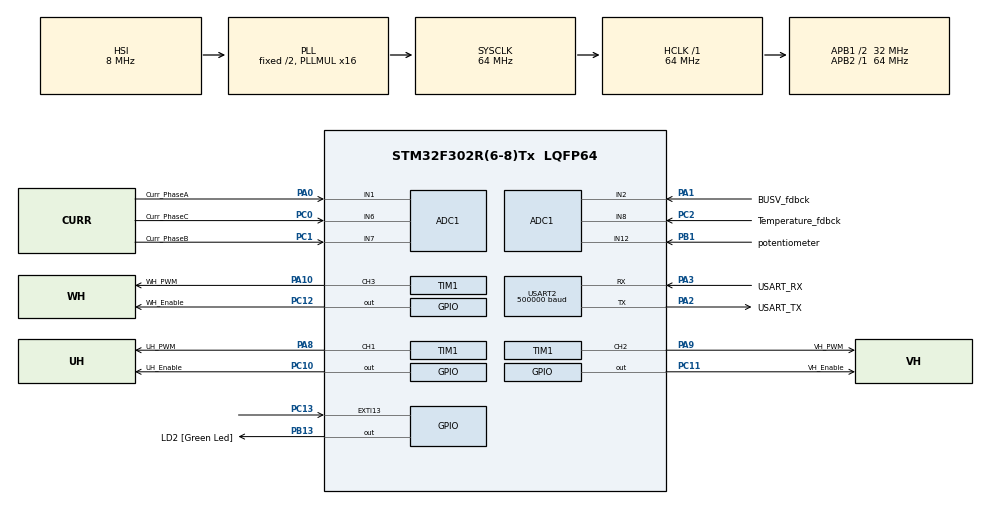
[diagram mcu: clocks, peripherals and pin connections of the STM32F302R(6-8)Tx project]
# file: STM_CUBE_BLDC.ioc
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ADC1.Channel-12\#ChannelRegularConversion=ADC_CHANNEL_1
ADC1.Channel-13\#ChannelRegularConversion=ADC_CHANNEL_7
ADC1.Channel-14\#ChannelRegularConversion=ADC_CHANNEL_6
ADC1.Channel-15\#ChannelRegularConversion=ADC_CHANNEL_2
ADC1.Channel-16\#ChannelRegularConversion=ADC_CHANNEL_12
ADC1.Channel-17\#ChannelRegularConversion=ADC_CHANNEL_8
ADC1.EOCSelection=ADC_EOC_SEQ_CONV
ADC1.EnableInjectedConversion=DISABLE
ADC1.EnableRegularConversion=ENABLE
ADC1.ExternalTrigConv=ADC_EXTERNALTRIGCONV_T1_TRGO
ADC1.NbrOfConversion=6
ADC1.NbrOfConversionFlag=1
ADC1.Offset-12\#ChannelRegularConversion=0
ADC1.Offset-13\#ChannelRegularConversion=0
ADC1.Offset-14\#ChannelRegularConversion=0
ADC1.Offset-15\#ChannelRegularConversion=0
ADC1.Offset-16\#ChannelRegularConversion=0
ADC1.Offset-17\#ChannelRegularConversion=0
ADC1.OffsetNumber-12\#ChannelRegularConversion=ADC_OFFSET_NONE
ADC1.OffsetNumber-13\#ChannelRegularConversion=ADC_OFFSET_NONE
ADC1.OffsetNumber-14\#ChannelRegularConversion=ADC_OFFSET_NONE
ADC1.OffsetNumber-15\#ChannelRegularConversion=ADC_OFFSET_NONE
ADC1.OffsetNumber-16\#ChannelRegularConversion=ADC_OFFSET_NONE
ADC1.OffsetNumber-17\#ChannelRegularConversion=ADC_OFFSET_NONE
ADC1.Rank-12\#ChannelRegularConversion=1
ADC1.Rank-13\#ChannelRegularConversion=2
ADC1.Rank-14\#ChannelRegularConversion=3
ADC1.Rank-15\#ChannelRegularConversion=4
ADC1.Rank-16\#ChannelRegularConversion=5
ADC1.Rank-17\#ChannelRegularConversion=6
ADC1.Rank1_Channel=ADC_CHANNEL_1
ADC1.Rank2_Channel=ADC_CHANNEL_7
ADC1.Rank3_Channel=ADC_CHANNEL_6
ADC1.Rank4_Channel=ADC_CHANNEL_2
ADC1.SamplingTime-12\#ChannelRegularConversion=ADC_SAMPLETIME_1CYCLE_5
ADC1.SamplingTime-13\#ChannelRegularConversion=ADC_SAMPLETIME_1CYCLE_5
ADC1.SamplingTime-14\#ChannelRegularConversion=ADC_SAMPLETIME_1CYCLE_5
ADC1.SamplingTime-15\#ChannelRegularConversion=ADC_SAMPLETIME_1CYCLE_5
ADC1.SamplingTime-16\#ChannelRegularConversion=ADC_SAMPLETIME_1CYCLE_5
ADC1.SamplingTime-17\#ChannelRegularConversion=ADC_SAMPLETIME_1CYCLE_5
ADC1.SamplingTimeOPAMP-12\#ChannelRegularConversion=ADC_SAMPLETIME_61CYCLES_5
ADC1.SamplingTimeOPAMP-13\#ChannelRegularConversion=ADC_SAMPLETIME_61CYCLES_5
ADC1.SamplingTimeOPAMP-14\#ChannelRegularConversion=ADC_SAMPLETIME_61CYCLES_5
ADC1.SamplingTimeOPAMP-15\#ChannelRegularConversion=ADC_SAMPLETIME_61CYCLES_5
ADC1.SamplingTimeOPAMP-16\#ChannelRegularConversion=ADC_SAMPLETIME_61CYCLES_5
ADC1.SamplingTimeOPAMP-17\#ChannelRegularConversion=ADC_SAMPLETIME_61CYCLES_5
ADC1.SequencerNbRanks=6
ADC1.SubFamily=STM32F302x8
ADC1.master=1
Dma.ADC1.0.Direction=DMA_PERIPH_TO_MEMORY
Dma.ADC1.0.Instance=DMA1_Channel1
Dma.ADC1.0.MemDataAlignment=DMA_MDATAALIGN_HALFWORD
Dma.ADC1.0.MemInc=DMA_MINC_ENABLE
Dma.ADC1.0.Mode=DMA_NORMAL
Dma.ADC1.0.PeriphDataAlignment=DMA_PDATAALIGN_HALFWORD
Dma.ADC1.0.PeriphInc=DMA_PINC_DISABLE
Dma.ADC1.0.Priority=DMA_PRIORITY_LOW
Dma.Request0=ADC1
Mcu.Family=STM32F3
Mcu.Name=STM32F302R(6-8)Tx
Mcu.Package=LQFP64
NVIC.DMA1_Channel1_IRQn=true\:0\:0\:false\:false\:true\:false\:true\:true
NVIC.EXTI15_10_IRQn=true\:0\:0\:false\:false\:true\:true\:true\:true
NVIC.PriorityGroup=NVIC_PRIORITYGROUP_0
PA0.GPIO_Label=Curr_PhaseA
PA0.Mode=IN1-Single-Ended
PA0.Signal=ADC1_IN1
PA1.GPIO_Label=BUSV_fdbck
PA1.Mode=IN2-Single-Ended
PA1.Signal=ADC1_IN2
PA10.GPIO_Label=WH_PWM
PA10.Signal=S_TIM1_CH3
PA13.GPIO_Label=TMS
PA13.Mode=Serial_Wire
PA13.Signal=SYS_JTMS-SWDIO
PA14.GPIO_Label=TCK
PA14.Mode=Serial_Wire
PA14.Signal=SYS_JTCK-SWCLK
PA2.GPIO_Label=USART_TX
PA2.GPIO_Mode=GPIO_MODE_AF_PP
PA2.GPIO_PuPd=GPIO_NOPULL
PA2.GPIO_Speed=GPIO_SPEED_FREQ_LOW
PA2.Mode=Asynchronous
PA2.Signal=USART2_TX
PA3.GPIO_Label=USART_RX
PA3.GPIO_Mode=GPIO_MODE_AF_PP
PA3.GPIO_PuPd=GPIO_NOPULL
PA3.GPIO_Speed=GPIO_SPEED_FREQ_LOW
PA3.Mode=Asynchronous
PA3.Signal=USART2_RX
PA8.GPIO_Label=UH_PWM
PA8.Signal=S_TIM1_CH1
PA9.GPIO_Label=VH_PWM
PA9.Signal=S_TIM1_CH2
PB1.GPIO_Label=potentiometer
PB1.Mode=IN12-Single-Ended
PB1.Signal=ADC1_IN12
PB13.GPIO_Label=LD2 [Green Led]
PB13.Signal=GPIO_Output
PB3.GPIO_Label=SWO
PB3.Mode=Trace_Asynchronous_SW
PB3.Signal=SYS_JTDO-TRACESWO
PC0.GPIO_Label=Curr_PhaseC
PC0.Signal=ADCx_IN6
PC1.GPIO_Label=Curr_PhaseB
PC1.Signal=ADCx_IN7
PC10.GPIO_Label=UH_Enable
PC10.Signal=GPIO_Output
PC11.GPIO_Label=VH_Enable
PC11.Signal=GPIO_Output
PC12.GPIO_Label=WH_Enable
PC12.Signal=GPIO_Output
PC13.Signal=GPXTI13
PC14\ -\ OSC32_IN.Mode=LSE-External-Oscillator
PC14\ -\ OSC32_IN.Signal=RCC_OSC32_IN
PC15\ -\ OSC32_OUT.Mode=LSE-External-Oscillator
PC15\ -\ OSC32_OUT.Signal=RCC_OSC32_OUT
PC2.GPIO_Label=Temperature_fdbck
PC2.Signal=ADCx_IN8
PF0-OSC_IN.Mode=HSE-External-Clock-Source
PF0-OSC_IN.Signal=RCC_OSC_IN
PF1-OSC_OUT.Signal=RCC_OSC_OUT
ProjectManager.HeapSize=0x200
ProjectManager.StackSize=0x400
ProjectManager.TargetToolchain=STM32CubeIDE
RCC.AHBFreq_Value=64000000
RCC.APB1CLKDivider=RCC_HCLK_DIV2
RCC.APB1Freq_Value=32000000
RCC.APB1TimFreq_Value=64000000
RCC.APB2Freq_Value=64000000
RCC.APB2TimFreq_Value=64000000
RCC.CortexFreq_Value=64000000
RCC.HCLKFreq_Value=64000000
RCC.HSE_VALUE=8000000
RCC.HSI_VALUE=8000000
RCC.PLLM=8
RCC.PLLMUL=RCC_PLL_MUL16
RCC.PLLN=336
RCC.PLLP=RCC_PLLP_DIV4
RCC.PLLQ=7
RCC.RCC_PLLsource_Clock_Source_FROM_HSE=RCC_HSE_PREDIV_DIV2
RCC.SYSCLKFreq_VALUE=64000000
RCC.SYSCLKSourceVirtual=RCC_SYSCLKSOURCE_PLLCLK
RCC.USBFreq_Value=64000000
SH.ADCx_IN6.0=ADC1_IN6,IN6-Single-Ended
SH.ADCx_IN7.0=ADC1_IN7,IN7-Single-Ended
SH.ADCx_IN8.0=ADC1_IN8,IN8-Single-Ended
SH.S_TIM1_CH1.0=TIM1_CH1,PWM Generation1 CH1
SH.S_TIM1_CH2.0=TIM1_CH2,PWM Generation2 CH2
SH.S_TIM1_CH3.0=TIM1_CH3,PWM Generation3 CH3
TIM1.Channel-PWM\ Generation1\ CH1=TIM_CHANNEL_1
TIM1.Channel-PWM\ Generation2\ CH2=TIM_CHANNEL_2
TIM1.Channel-PWM\ Generation3\ CH3=TIM_CHANNEL_3
TIM1.CounterMode=TIM_COUNTERMODE_CENTERALIGNED1
TIM1.Period=100-1
TIM1.Prescaler=64-1
TIM1.Pulse-PWM\ Generation1\ CH1=50
TIM1.Pulse-PWM\ Generation2\ CH2=20
TIM1.Pulse-PWM\ Generation3\ CH3=75
TIM1.TIM_MasterOutputTrigger=TIM_TRGO_UPDATE
TIM1.TIM_MasterSlaveMode=TIM_MASTERSLAVEMODE_DISABLE
TIM16.Prescaler=640-1
USART2.BaudRate=500000
USART2.VirtualMode-Asynchronous=VM_ASYNC
VP_TIM16_VS_ClockSourceINT.Mode=Enable_Timer
board=NUCLEO-F302R8

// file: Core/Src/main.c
/* USER CODE BEGIN Header */
/**
  ******************************************************************************
  * @file           : main.c
  * @brief          : Main program body
  ******************************************************************************
  * @attention
  *
  * Copyright (c) 2023 STMicroelectronics.
  * All rights reserved.
  *
  * This software is licensed under terms that can be found in the LICENSE file
  * in the root directory of this software component.
  * If no LICENSE file comes with this software, it is provided AS-IS.
  *
  ******************************************************************************
  */
/* USER CODE END Header */
#include "main.h"

/* USER CODE BEGIN Includes */
#include <stdio.h>
#include <string.h>
#include "STM_SIMULINK_BLDC.h"
/* USER CODE END Includes */

/* USER CODE BEGIN PD */
#define CURRENT_PHA_DMA_IDX 0
#define CURRENT_PHB_DMA_IDX 1
#define CURRENT_PHC_DMA_IDX 2
#define BUSV_DMA_IDX 3
#define POTENTIOMETER_DMA_IDX 4
#define TEMPERATURE_DMA_IDX 5
/* USER CODE END PD */

ADC_HandleTypeDef hadc1;
DMA_HandleTypeDef hdma_adc1;

TIM_HandleTypeDef htim1;
TIM_HandleTypeDef htim16;

UART_HandleTypeDef huart2;

/* USER CODE BEGIN PV */
uint16_t adc_dma_buffer[6] = {0};
uint8_t serial_buf[150];
uint16_t main_start_time;
/* USER CODE END PV */

void SystemClock_Config(void);
static void MX_GPIO_Init(void);
static void MX_DMA_Init(void);
static void MX_USART2_UART_Init(void);
static void MX_ADC1_Init(void);
static void MX_TIM1_Init(void);
static void MX_TIM16_Init(void);

int main(void)
{

  /* MCU Configuration--------------------------------------------------------*/

  /* Reset of all peripherals, Initializes the Flash interface and the Systick. */
  HAL_Init();

  /* Configure the system clock */
  SystemClock_Config();

  /* Initialize all configured peripherals */
  MX_GPIO_Init();
  MX_DMA_Init();
  MX_USART2_UART_Init();
  MX_ADC1_Init();
  MX_TIM1_Init();
  MX_TIM16_Init();
  /* USER CODE BEGIN 2 */
  HAL_TIM_Base_Start(&htim16);
  HAL_TIM_PWM_Start(&htim1, TIM_CHANNEL_1);
  HAL_TIM_PWM_Start(&htim1, TIM_CHANNEL_2);
  HAL_TIM_PWM_Start(&htim1, TIM_CHANNEL_3);
  /* USER CODE END 2 */

  /* Infinite loop */
  /* USER CODE BEGIN WHILE */
  HAL_GPIO_WritePin(GPIOC, UH_Enable_Pin, GPIO_PIN_SET);
  HAL_GPIO_WritePin(GPIOC, VH_Enable_Pin, GPIO_PIN_SET);
  HAL_GPIO_WritePin(GPIOC, WH_Enable_Pin, GPIO_PIN_SET);
  while (1)
  {
	  main_start_time=__HAL_TIM_GET_COUNTER(&htim16);
	  HAL_ADC_Start_DMA(&hadc1, (uint32_t*)adc_dma_buffer, 6);
	  HAL_ADC_PollForConversion(&hadc1, HAL_MAX_DELAY);

	  STM_SIMULINK_BLDC_U.speed = adc_dma_buffer[POTENTIOMETER_DMA_IDX]/40;
	  STM_SIMULINK_BLDC_U.Phase_A = adc_dma_buffer[CURRENT_PHA_DMA_IDX];
	  STM_SIMULINK_BLDC_U.Phase_B = adc_dma_buffer[CURRENT_PHB_DMA_IDX];
	  STM_SIMULINK_BLDC_U.Phase_C = adc_dma_buffer[CURRENT_PHC_DMA_IDX];
	  STM_SIMULINK_BLDC_U.BusV = adc_dma_buffer[BUSV_DMA_IDX];
	  STM_SIMULINK_BLDC_step();

	  __HAL_TIM_SET_COMPARE(&htim1, TIM_CHANNEL_1, STM_SIMULINK_BLDC_Y.pwm_1);
	  __HAL_TIM_SET_COMPARE(&htim1, TIM_CHANNEL_2, STM_SIMULINK_BLDC_Y.pwm_2);
	  __HAL_TIM_SET_COMPARE(&htim1, TIM_CHANNEL_3, STM_SIMULINK_BLDC_Y.pwm_3);
		/*
	  sprintf((char*)serial_buf, "%u,%u,%u,%u,%u,%u\r\n",
	      													adc_dma_buffer[CURRENT_PHA_DMA_IDX],
	      													adc_dma_buffer[CURRENT_PHB_DMA_IDX],
	      													adc_dma_buffer[CURRENT_PHC_DMA_IDX],
	      													adc_dma_buffer[BUSV_DMA_IDX],
	      													adc_dma_buffer[POTENTIOMETER_DMA_IDX],
	      													adc_dma_buffer[TEMPERATURE_DMA_IDX]);
	  HAL_UART_Transmit(&huart2, serial_buf, strlen(serial_buf), HAL_MAX_DELAY);
		HAL_UART_Transmit(&huart2, (char*)adc_dma_buffer, 12, HAL_MAX_DELAY);
	  while(__HAL_TIM_GET_COUNTER(&htim16) - main_start_time <100){}
	  /* USER CODE END WHILE */

  }
}

void SystemClock_Config(void)
{
  RCC_OscInitTypeDef RCC_OscInitStruct = {0};
  RCC_ClkInitTypeDef RCC_ClkInitStruct = {0};
  RCC_PeriphCLKInitTypeDef PeriphClkInit = {0};

  /** Initializes the RCC Oscillators according to the specified parameters
  * in the RCC_OscInitTypeDef structure.
  */
  RCC_OscInitStruct.OscillatorType = RCC_OSCILLATORTYPE_HSI;
  RCC_OscInitStruct.HSIState = RCC_HSI_ON;
  RCC_OscInitStruct.HSICalibrationValue = RCC_HSICALIBRATION_DEFAULT;
  RCC_OscInitStruct.PLL.PLLState = RCC_PLL_ON;
  RCC_OscInitStruct.PLL.PLLSource = RCC_PLLSOURCE_HSI;
  RCC_OscInitStruct.PLL.PLLMUL = RCC_PLL_MUL16;
  if (HAL_RCC_OscConfig(&RCC_OscInitStruct) != HAL_OK)
  {
    Error_Handler();
  }

  /** Initializes the CPU, AHB and APB buses clocks
  */
  RCC_ClkInitStruct.ClockType = RCC_CLOCKTYPE_HCLK|RCC_CLOCKTYPE_SYSCLK
                              |RCC_CLOCKTYPE_PCLK1|RCC_CLOCKTYPE_PCLK2;
  RCC_ClkInitStruct.SYSCLKSource = RCC_SYSCLKSOURCE_PLLCLK;
  RCC_ClkInitStruct.AHBCLKDivider = RCC_SYSCLK_DIV1;
  RCC_ClkInitStruct.APB1CLKDivider = RCC_HCLK_DIV2;
  RCC_ClkInitStruct.APB2CLKDivider = RCC_HCLK_DIV1;

  if (HAL_RCC_ClockConfig(&RCC_ClkInitStruct, FLASH_LATENCY_2) != HAL_OK)
  {
    Error_Handler();
  }
  PeriphClkInit.PeriphClockSelection = RCC_PERIPHCLK_TIM1|RCC_PERIPHCLK_TIM16
                              |RCC_PERIPHCLK_ADC1;
  PeriphClkInit.Tim1ClockSelection = RCC_TIM1CLK_HCLK;
  PeriphClkInit.Tim16ClockSelection = RCC_TIM16CLK_HCLK;
  PeriphClkInit.Adc1ClockSelection = RCC_ADC1PLLCLK_DIV1;

  if (HAL_RCCEx_PeriphCLKConfig(&PeriphClkInit) != HAL_OK)
  {
    Error_Handler();
  }
}

static void MX_ADC1_Init(void)
{

  ADC_ChannelConfTypeDef sConfig = {0};

  /** Common config
  */
  hadc1.Instance = ADC1;
  hadc1.Init.ClockPrescaler = ADC_CLOCK_ASYNC_DIV1;
  hadc1.Init.Resolution = ADC_RESOLUTION_12B;
  hadc1.Init.ScanConvMode = ADC_SCAN_ENABLE;
  hadc1.Init.ContinuousConvMode = DISABLE;
  hadc1.Init.DiscontinuousConvMode = DISABLE;
  hadc1.Init.ExternalTrigConvEdge = ADC_EXTERNALTRIGCONVEDGE_RISING;
  hadc1.Init.ExternalTrigConv = ADC_EXTERNALTRIGCONV_T1_TRGO;
  hadc1.Init.DataAlign = ADC_DATAALIGN_RIGHT;
  hadc1.Init.NbrOfConversion = 6;
  hadc1.Init.DMAContinuousRequests = DISABLE;
  hadc1.Init.EOCSelection = ADC_EOC_SEQ_CONV;
  hadc1.Init.LowPowerAutoWait = DISABLE;
  hadc1.Init.Overrun = ADC_OVR_DATA_OVERWRITTEN;
  if (HAL_ADC_Init(&hadc1) != HAL_OK)
  {
    Error_Handler();
  }

  /** Configure Regular Channel
  */
  sConfig.Channel = ADC_CHANNEL_1;
  sConfig.Rank = ADC_REGULAR_RANK_1;
  sConfig.SingleDiff = ADC_SINGLE_ENDED;
  sConfig.SamplingTime = ADC_SAMPLETIME_1CYCLE_5;
  sConfig.OffsetNumber = ADC_OFFSET_NONE;
  sConfig.Offset = 0;
  if (HAL_ADC_ConfigChannel(&hadc1, &sConfig) != HAL_OK)
  {
    Error_Handler();
  }

  /** Configure Regular Channel
  */
  sConfig.Channel = ADC_CHANNEL_7;
  sConfig.Rank = ADC_REGULAR_RANK_2;
  if (HAL_ADC_ConfigChannel(&hadc1, &sConfig) != HAL_OK)
  {
    Error_Handler();
  }

  /** Configure Regular Channel
  */
  sConfig.Channel = ADC_CHANNEL_6;
  sConfig.Rank = ADC_REGULAR_RANK_3;
  if (HAL_ADC_ConfigChannel(&hadc1, &sConfig) != HAL_OK)
  {
    Error_Handler();
  }

  /** Configure Regular Channel
  */
  sConfig.Channel = ADC_CHANNEL_2;
  sConfig.Rank = ADC_REGULAR_RANK_4;
  if (HAL_ADC_ConfigChannel(&hadc1, &sConfig) != HAL_OK)
  {
    Error_Handler();
  }

  /** Configure Regular Channel
  */
  sConfig.Channel = ADC_CHANNEL_12;
  sConfig.Rank = ADC_REGULAR_RANK_5;
  if (HAL_ADC_ConfigChannel(&hadc1, &sConfig) != HAL_OK)
  {
    Error_Handler();
  }

  /** Configure Regular Channel
  */
  sConfig.Channel = ADC_CHANNEL_8;
  sConfig.Rank = ADC_REGULAR_RANK_6;
  if (HAL_ADC_ConfigChannel(&hadc1, &sConfig) != HAL_OK)
  {
    Error_Handler();
  }

}

static void MX_TIM1_Init(void)
{

  TIM_MasterConfigTypeDef sMasterConfig = {0};
  TIM_OC_InitTypeDef sConfigOC = {0};
  TIM_BreakDeadTimeConfigTypeDef sBreakDeadTimeConfig = {0};

  htim1.Instance = TIM1;
  htim1.Init.Prescaler = 64-1;
  htim1.Init.CounterMode = TIM_COUNTERMODE_CENTERALIGNED1;
  htim1.Init.Period = 100-1;
  htim1.Init.ClockDivision = TIM_CLOCKDIVISION_DIV1;
  htim1.Init.RepetitionCounter = 0;
  htim1.Init.AutoReloadPreload = TIM_AUTORELOAD_PRELOAD_DISABLE;
  if (HAL_TIM_PWM_Init(&htim1) != HAL_OK)
  {
    Error_Handler();
  }
  sMasterConfig.MasterOutputTrigger = TIM_TRGO_UPDATE;
  sMasterConfig.MasterOutputTrigger2 = TIM_TRGO2_RESET;
  sMasterConfig.MasterSlaveMode = TIM_MASTERSLAVEMODE_DISABLE;
  if (HAL_TIMEx_MasterConfigSynchronization(&htim1, &sMasterConfig) != HAL_OK)
  {
    Error_Handler();
  }
  sConfigOC.OCMode = TIM_OCMODE_PWM1;
  sConfigOC.Pulse = 50;
  sConfigOC.OCPolarity = TIM_OCPOLARITY_HIGH;
  sConfigOC.OCNPolarity = TIM_OCNPOLARITY_HIGH;
  sConfigOC.OCFastMode = TIM_OCFAST_DISABLE;
  sConfigOC.OCIdleState = TIM_OCIDLESTATE_RESET;
  sConfigOC.OCNIdleState = TIM_OCNIDLESTATE_RESET;
  if (HAL_TIM_PWM_ConfigChannel(&htim1, &sConfigOC, TIM_CHANNEL_1) != HAL_OK)
  {
    Error_Handler();
  }
  sConfigOC.Pulse = 20;
  if (HAL_TIM_PWM_ConfigChannel(&htim1, &sConfigOC, TIM_CHANNEL_2) != HAL_OK)
  {
    Error_Handler();
  }
  sConfigOC.Pulse = 75;
  if (HAL_TIM_PWM_ConfigChannel(&htim1, &sConfigOC, TIM_CHANNEL_3) != HAL_OK)
  {
    Error_Handler();
  }
  sBreakDeadTimeConfig.OffStateRunMode = TIM_OSSR_DISABLE;
  sBreakDeadTimeConfig.OffStateIDLEMode = TIM_OSSI_DISABLE;
  sBreakDeadTimeConfig.LockLevel = TIM_LOCKLEVEL_OFF;
  sBreakDeadTimeConfig.DeadTime = 0;
  sBreakDeadTimeConfig.BreakState = TIM_BREAK_DISABLE;
  sBreakDeadTimeConfig.BreakPolarity = TIM_BREAKPOLARITY_HIGH;
  sBreakDeadTimeConfig.BreakFilter = 0;
  sBreakDeadTimeConfig.Break2State = TIM_BREAK2_DISABLE;
  sBreakDeadTimeConfig.Break2Polarity = TIM_BREAK2POLARITY_HIGH;
  sBreakDeadTimeConfig.Break2Filter = 0;
  sBreakDeadTimeConfig.AutomaticOutput = TIM_AUTOMATICOUTPUT_DISABLE;
  if (HAL_TIMEx_ConfigBreakDeadTime(&htim1, &sBreakDeadTimeConfig) != HAL_OK)
  {
    Error_Handler();
  }
  HAL_TIM_MspPostInit(&htim1);

}

static void MX_TIM16_Init(void)
{

  htim16.Instance = TIM16;
  htim16.Init.Prescaler = 640-1;
  htim16.Init.CounterMode = TIM_COUNTERMODE_UP;
  htim16.Init.Period = 65535;
  htim16.Init.ClockDivision = TIM_CLOCKDIVISION_DIV1;
  htim16.Init.RepetitionCounter = 0;
  htim16.Init.AutoReloadPreload = TIM_AUTORELOAD_PRELOAD_DISABLE;
  if (HAL_TIM_Base_Init(&htim16) != HAL_OK)
  {
    Error_Handler();
  }

}

static void MX_USART2_UART_Init(void)
{

  huart2.Instance = USART2;
  huart2.Init.BaudRate = 500000;
  huart2.Init.WordLength = UART_WORDLENGTH_8B;
  huart2.Init.StopBits = UART_STOPBITS_1;
  huart2.Init.Parity = UART_PARITY_NONE;
  huart2.Init.Mode = UART_MODE_TX_RX;
  huart2.Init.HwFlowCtl = UART_HWCONTROL_NONE;
  huart2.Init.OverSampling = UART_OVERSAMPLING_16;
  huart2.Init.OneBitSampling = UART_ONE_BIT_SAMPLE_DISABLE;
  huart2.AdvancedInit.AdvFeatureInit = UART_ADVFEATURE_NO_INIT;
  if (HAL_UART_Init(&huart2) != HAL_OK)
  {
    Error_Handler();
  }

}

static void MX_DMA_Init(void)
{

  /* DMA controller clock enable */
  __HAL_RCC_DMA1_CLK_ENABLE();

  /* DMA interrupt init */
  /* DMA1_Channel1_IRQn interrupt configuration */
  HAL_NVIC_SetPriority(DMA1_Channel1_IRQn, 0, 0);
  HAL_NVIC_EnableIRQ(DMA1_Channel1_IRQn);

}

static void MX_GPIO_Init(void)
{
  GPIO_InitTypeDef GPIO_InitStruct = {0};

  /* GPIO Ports Clock Enable */
  __HAL_RCC_GPIOC_CLK_ENABLE();
  __HAL_RCC_GPIOF_CLK_ENABLE();
  __HAL_RCC_GPIOA_CLK_ENABLE();
  __HAL_RCC_GPIOB_CLK_ENABLE();

  /*Configure GPIO pin Output Level */
  HAL_GPIO_WritePin(LD2_GPIO_Port, LD2_Pin, GPIO_PIN_RESET);

  /*Configure GPIO pin Output Level */
  HAL_GPIO_WritePin(GPIOC, UH_Enable_Pin|VH_Enable_Pin|WH_Enable_Pin, GPIO_PIN_RESET);

  /*Configure GPIO pin : PC13 */
  GPIO_InitStruct.Pin = GPIO_PIN_13;
  GPIO_InitStruct.Mode = GPIO_MODE_IT_RISING;
  GPIO_InitStruct.Pull = GPIO_NOPULL;
  HAL_GPIO_Init(GPIOC, &GPIO_InitStruct);

  /*Configure GPIO pin : LD2_Pin */
  GPIO_InitStruct.Pin = LD2_Pin;
  GPIO_InitStruct.Mode = GPIO_MODE_OUTPUT_PP;
  GPIO_InitStruct.Pull = GPIO_NOPULL;
  GPIO_InitStruct.Speed = GPIO_SPEED_FREQ_LOW;
  HAL_GPIO_Init(LD2_GPIO_Port, &GPIO_InitStruct);

  /*Configure GPIO pins : UH_Enable_Pin VH_Enable_Pin WH_Enable_Pin */
  GPIO_InitStruct.Pin = UH_Enable_Pin|VH_Enable_Pin|WH_Enable_Pin;
  GPIO_InitStruct.Mode = GPIO_MODE_OUTPUT_PP;
  GPIO_InitStruct.Pull = GPIO_NOPULL;
  GPIO_InitStruct.Speed = GPIO_SPEED_FREQ_LOW;
  HAL_GPIO_Init(GPIOC, &GPIO_InitStruct);

  /* EXTI interrupt init*/
  HAL_NVIC_SetPriority(EXTI15_10_IRQn, 0, 0);
  HAL_NVIC_EnableIRQ(EXTI15_10_IRQn);

}

/* USER CODE BEGIN 4 */
void HAL_GPIO_EXTI_Callback(uint16_t GPIO_Pin){
	if(GPIO_Pin == GPIO_PIN_13)
		STM_SIMULINK_BLDC_U.push_button = !STM_SIMULINK_BLDC_U.push_button;
}

/* USER CODE END 4 */

void Error_Handler(void)
{
  __disable_irq();
  while (1)
  {
  }
}
